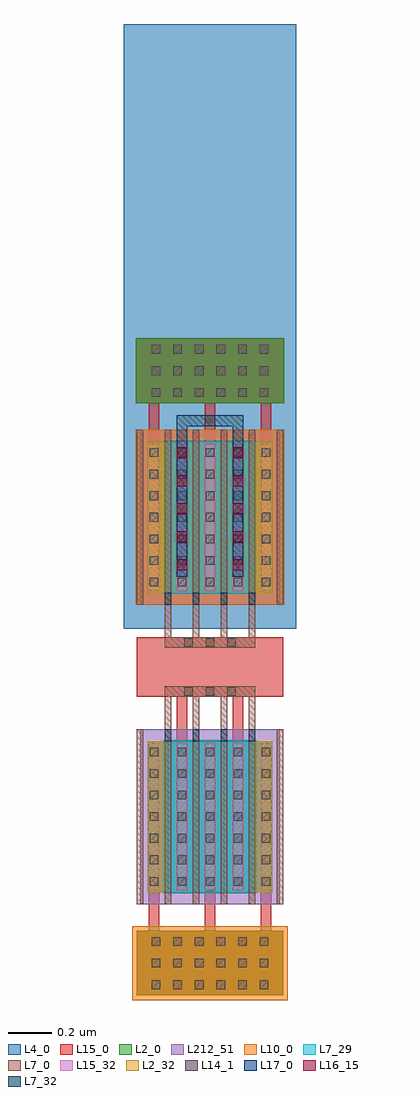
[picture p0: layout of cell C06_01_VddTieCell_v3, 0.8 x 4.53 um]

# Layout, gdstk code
import gdstk
lib = gdstk.Library(unit=1e-6, precision=1e-09)
def R(c, l, rs):  # rectangles x0, y0, x1, y1
    for r in rs: c.add(gdstk.rectangle(r[:2], r[2:], *l))
def A(c, l, x, y, w, h, nx, ny, dx, dy):  # array of equal rectangles
    R(c, l, [(x+i*dx, y+j*dy, x+i*dx+w, y+j*dy+h) for i in range(nx) for j in range(ny)])
L2_0 = (2, 0)
L2_32 = (2, 32)
L4_0 = (4, 0)
L7_0 = (7, 0)
L7_29 = (7, 29)
L7_32 = (7, 32)
L10_0 = (10, 0)
L14_1 = (14, 1)
L15_0 = (15, 0)
L15_32 = (15, 32)
L16_15 = (16, 15)
L17_0 = (17, 0)
L212_51 = (212, 51)

c06_01_vddtiecell_v3_srf = lib.new_cell('C06_01_VddTieCell_v3:SRF_TieCellNMOSRouted:SRF_Nmos:SRF_Gate_ViaM0Mx:SRF_ViaM0M1')
R(c06_01_vddtiecell_v3_srf, L7_0, [(-0.01,-0.004,0.25,0.044)])
A(c06_01_vddtiecell_v3_srf, L14_1, 0, 0, 0.04, 0.04, 3, 1, 0.1, 0)
R(c06_01_vddtiecell_v3_srf, L15_0, [(-0.021,-0.005,0.261,0.045)])

c_c06_01_vddtiecell_v3_srf = lib.new_cell('C06_01_VddTieCell_v3:SRF_TieCellNMOSRouted:SRF_Nmos:SRF_Gate_ViaM0Mx')
c_c06_01_vddtiecell_v3_srf.add(gdstk.Reference(c06_01_vddtiecell_v3_srf, (-0.12,-0.02)))

c_c06_01_vddtiecell_v3_srf_ = lib.new_cell('C06_01_VddTieCell_v3:SRF_TieCellNMOSRouted:SRF_Nmos')
R(c_c06_01_vddtiecell_v3_srf_, L2_0, [(-0.078,0.057,0.498,0.757)])
R(c_c06_01_vddtiecell_v3_srf_, L2_32, [(-0.078,0.057,0,0.757), (0.42,0.057,0.498,0.757)])
A(c_c06_01_vddtiecell_v3_srf_, L7_0, -0.13, 0, 0.03, 0.814, 6, 1, 0.13, 0)
A(c_c06_01_vddtiecell_v3_srf_, L7_0, 0, 0.814, 0.03, 0.15, 4, 1, 0.13, 0)
R(c_c06_01_vddtiecell_v3_srf_, L7_0, [(0,0.964,0.42,1.012)])
R(c_c06_01_vddtiecell_v3_srf_, L7_29, [(-0.005,0.052,0.425,0.762)])
A(c_c06_01_vddtiecell_v3_srf_, L7_32, 0, 0.757, 0.03, 0.057, 4, 1, 0.13, 0)
A(c_c06_01_vddtiecell_v3_srf_, L14_1, -0.07, 0.087, 0.04, 0.04, 5, 7, 0.13, 0.1)
R(c_c06_01_vddtiecell_v3_srf_, L15_0, [(-0.075,0.066,-0.025,0.748), (-0.075,0.066,-0.025,0.748), (0.055,0.066,0.105,0.748), (0.055,0.066,0.105,0.748), (0.185,0.066,0.235,0.748), (0.185,0.066,0.235,0.748), (0.315,0.066,0.365,0.748), (0.315,0.066,0.365,0.748), (0.445,0.066,0.495,0.748), (0.445,0.066,0.495,0.748), (0,0.963,0.42,1.013)])
A(c_c06_01_vddtiecell_v3_srf_, L15_32, -0.075, 0.066, 0.05, 0.682, 5, 1, 0.13, 0)
R(c_c06_01_vddtiecell_v3_srf_, L212_51, [(-0.113,0.001,0.533,0.813)])
c_c06_01_vddtiecell_v3_srf_.add(gdstk.Reference(c_c06_01_vddtiecell_v3_srf, (0.21,0.988)))

c_c06_01_vddtiecell_v3_srf__ = lib.new_cell('C06_01_VddTieCell_v3:SRF_TieCellNMOSRouted')
c_c06_01_vddtiecell_v3_srf__.add(gdstk.Reference(c_c06_01_vddtiecell_v3_srf_, (0,0)))

c_c06_01_vddtiecell_v3_srf___ = lib.new_cell('C06_01_VddTieCell_v3:SRF_TieCellPMOSRouted:SRF_Pmos:SRF_Drain_ViaM1M2:SRF_ViaM1M2')
R(c_c06_01_vddtiecell_v3_srf___, L15_0, [(0,-0.552,0.05,0.082)])
A(c_c06_01_vddtiecell_v3_srf___, L16_15, 0, -0.52, 0.05, 0.05, 1, 5, 0, 0.13)
R(c_c06_01_vddtiecell_v3_srf___, L17_0, [(0,-0.552,0.05,0.082)])

c_c06_01_vddtiecell_v3_srf____ = lib.new_cell('C06_01_VddTieCell_v3:SRF_TieCellPMOSRouted:SRF_Pmos:SRF_Drain_ViaM1M2')
c_c06_01_vddtiecell_v3_srf____.add(gdstk.Reference(c_c06_01_vddtiecell_v3_srf___, (-0.025,0.235)))

c_c06_01_vddtiecell_v3_srf_____ = lib.new_cell('C06_01_VddTieCell_v3:SRF_TieCellPMOSRouted:SRF_Pmos:SRF_Gate_ViaM0Mx:SRF_ViaM0M1')
R(c_c06_01_vddtiecell_v3_srf_____, L7_0, [(-0.01,-0.004,0.25,0.044)])
A(c_c06_01_vddtiecell_v3_srf_____, L14_1, 0, 0, 0.04, 0.04, 3, 1, 0.1, 0)
R(c_c06_01_vddtiecell_v3_srf_____, L15_0, [(-0.021,-0.005,0.261,0.045)])

c_c06_01_vddtiecell_v3_srf______ = lib.new_cell('C06_01_VddTieCell_v3:SRF_TieCellPMOSRouted:SRF_Pmos:SRF_Gate_ViaM0Mx')
c_c06_01_vddtiecell_v3_srf______.add(gdstk.Reference(c_c06_01_vddtiecell_v3_srf_____, (-0.12,-0.02)))

c_c06_01_vddtiecell_v3_srf_______ = lib.new_cell('C06_01_VddTieCell_v3:SRF_TieCellPMOSRouted:SRF_Pmos')
R(c_c06_01_vddtiecell_v3_srf_______, L2_0, [(-0.078,0.057,0.498,0.757)])
R(c_c06_01_vddtiecell_v3_srf_______, L2_32, [(-0.078,0.057,0,0.757), (0.42,0.057,0.498,0.757)])
A(c_c06_01_vddtiecell_v3_srf_______, L7_0, 0, -0.15, 0.03, 0.15, 4, 1, 0.13, 0)
A(c_c06_01_vddtiecell_v3_srf_______, L7_0, -0.13, 0, 0.03, 0.814, 6, 1, 0.13, 0)
R(c_c06_01_vddtiecell_v3_srf_______, L7_0, [(0,-0.198,0.42,-0.15)])
R(c_c06_01_vddtiecell_v3_srf_______, L7_29, [(-0.005,0.052,0.425,0.762)])
A(c_c06_01_vddtiecell_v3_srf_______, L7_32, 0, 0, 0.03, 0.057, 4, 1, 0.13, 0)
R(c_c06_01_vddtiecell_v3_srf_______, L10_0, [(-0.134,0.001,0.554,0.813)])
A(c_c06_01_vddtiecell_v3_srf_______, L14_1, -0.07, 0.087, 0.04, 0.04, 5, 7, 0.13, 0.1)
R(c_c06_01_vddtiecell_v3_srf_______, L15_0, [(0,-0.199,0.42,-0.149), (-0.075,0.066,-0.025,0.748), (-0.075,0.066,-0.025,0.748), (0.055,0.066,0.105,0.748), (0.055,0.066,0.105,0.748), (0.185,0.066,0.235,0.748), (0.185,0.066,0.235,0.748), (0.315,0.066,0.365,0.748), (0.315,0.066,0.365,0.748), (0.445,0.066,0.495,0.748), (0.445,0.066,0.495,0.748)])
A(c_c06_01_vddtiecell_v3_srf_______, L15_32, -0.075, 0.066, 0.05, 0.682, 5, 1, 0.13, 0)
R(c_c06_01_vddtiecell_v3_srf_______, L17_0, [(0.055,0.13,0.105,0.83), (0.315,0.13,0.365,0.83), (0.055,0.83,0.365,0.88)])
R(c_c06_01_vddtiecell_v3_srf_______, L212_51, [(-0.113,0.001,0.533,0.813)])
c_c06_01_vddtiecell_v3_srf_______.add(gdstk.Reference(c_c06_01_vddtiecell_v3_srf____, (0.08,0.447)))
c_c06_01_vddtiecell_v3_srf_______.add(gdstk.Reference(c_c06_01_vddtiecell_v3_srf____, (0.34,0.447)))
c_c06_01_vddtiecell_v3_srf_______.add(gdstk.Reference(c_c06_01_vddtiecell_v3_srf______, (0.21,-0.174)))

c_c06_01_vddtiecell_v3_srf________ = lib.new_cell('C06_01_VddTieCell_v3:SRF_TieCellPMOSRouted')
c_c06_01_vddtiecell_v3_srf________.add(gdstk.Reference(c_c06_01_vddtiecell_v3_srf_______, (0,0)))

c_c06_01_vddtiecell_v3_srf_________ = lib.new_cell('C06_01_VddTieCell_v3:SRF_PMOS_Body_Contact:SRF_NbodyContactPhyLen')
R(c_c06_01_vddtiecell_v3_srf_________, L2_0, [(-0.074,-0.23,0.614,0.07)])
R(c_c06_01_vddtiecell_v3_srf_________, L4_0, [(-0.13,-0.286,0.67,0.126)])
A(c_c06_01_vddtiecell_v3_srf_________, L14_1, 0, -0.2, 0.04, 0.04, 6, 3, 0.1, 0.1)
R(c_c06_01_vddtiecell_v3_srf_________, L15_0, [(-0.074,-0.23,0.614,0.07)])

c_c06_01_vddtiecell_v3_srf__________ = lib.new_cell('C06_01_VddTieCell_v3:SRF_PMOS_Body_Contact')
c_c06_01_vddtiecell_v3_srf__________.add(gdstk.Reference(c_c06_01_vddtiecell_v3_srf_________, (0,0)))

c_c06_01_vddtiecell_v3_srf___________ = lib.new_cell('C06_01_VddTieCell_v3:SRF_NMOS_Body_Contact:SRF_PbodyContactPhyLen')
R(c_c06_01_vddtiecell_v3_srf___________, L2_0, [(-0.07,-0.23,0.61,0.07)])
R(c_c06_01_vddtiecell_v3_srf___________, L10_0, [(-0.091,-0.251,0.631,0.091)])
A(c_c06_01_vddtiecell_v3_srf___________, L14_1, 0, -0.2, 0.04, 0.04, 6, 3, 0.1, 0.1)
R(c_c06_01_vddtiecell_v3_srf___________, L15_0, [(-0.07,-0.23,0.61,0.07)])

c_c06_01_vddtiecell_v3_srf____________ = lib.new_cell('C06_01_VddTieCell_v3:SRF_NMOS_Body_Contact')
c_c06_01_vddtiecell_v3_srf____________.add(gdstk.Reference(c_c06_01_vddtiecell_v3_srf___________, (0,0)))

c06_01_vddtiecell_v3 = lib.new_cell('C06_01_VddTieCell_v3')
R(c06_01_vddtiecell_v3, L4_0, [(-0.19,1.279,0.61,2.271), (-0.19,1.279,0.61,4.087)])
A(c06_01_vddtiecell_v3, L15_0, -0.075, -0.123, 0.05, 0.189, 3, 2, 0.26, 2.261)
R(c06_01_vddtiecell_v3, L15_0, [(0.055,0.748,0.105,0.963), (0.315,0.748,0.365,0.963)])
c06_01_vddtiecell_v3.add(gdstk.FlexPath([(0.21,1.241),(0.21,0.963)], 0.68, ends="flush", simple_path=True, layer=15, datatype=0))  # L15_0
c06_01_vddtiecell_v3.add(gdstk.Reference(c_c06_01_vddtiecell_v3_srf__, (0,0)))
c06_01_vddtiecell_v3.add(gdstk.Reference(c_c06_01_vddtiecell_v3_srf________, (0,1.39)))
c06_01_vddtiecell_v3.add(gdstk.Reference(c_c06_01_vddtiecell_v3_srf__________, (-0.06,2.557)))
c06_01_vddtiecell_v3.add(gdstk.Reference(c_c06_01_vddtiecell_v3_srf____________, (-0.06,-0.193)))

lib.write_gds('C06_01_VddTieCell_v3.gds')
